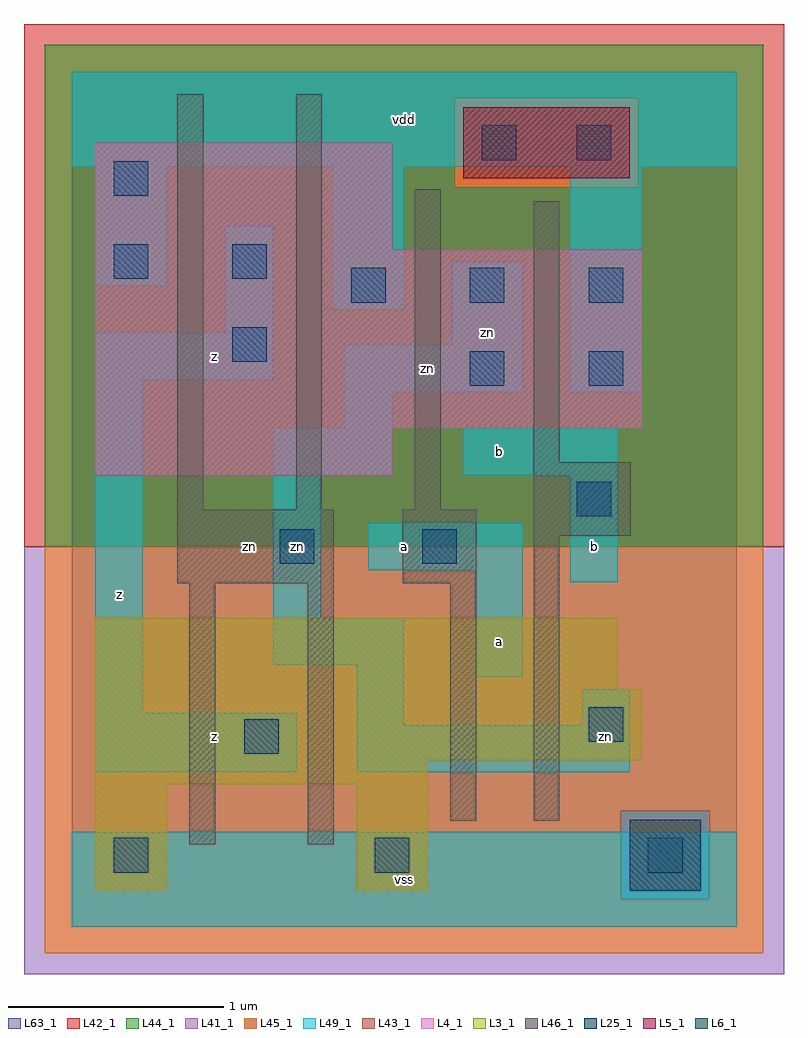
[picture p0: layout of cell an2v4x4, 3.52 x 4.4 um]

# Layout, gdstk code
import gdstk
lib = gdstk.Library(unit=1e-6, precision=1e-09)
def R(c, l, rs):  # rectangles x0, y0, x1, y1
    for r in rs: c.add(gdstk.rectangle(r[:2], r[2:], *l))
def A(c, l, x, y, w, h, nx, ny, dx, dy):  # array of equal rectangles
    R(c, l, [(x+i*dx, y+j*dy, x+i*dx+w, y+j*dy+h) for i in range(nx) for j in range(ny)])
L3_1 = (3, 1)
L4_1 = (4, 1)
L5_1 = (5, 1)
L6_1 = (6, 1)
L25_1 = (25, 1)
L41_1 = (41, 1)
L42_1 = (42, 1)
L43_1 = (43, 1)
L44_1 = (44, 1)
L45_1 = (45, 1)
L46_1 = (46, 1)
L49_1 = (49, 1)
L63_1 = (63, 1)

an2v4x4 = lib.new_cell('an2v4x4')
R(an2v4x4, L3_1, [(0.11,0.165,0.44,0.66), (1.32,0.165,1.65,0.66), (0.11,0.66,1.65,0.77), (0.11,0.77,2.64,1.1), (0.11,1.1,2.53,1.43)])
R(an2v4x4, L4_1, [(0.11,2.09,1.485,2.31), (0.11,2.31,2.64,3.135), (0.11,3.135,1.485,3.63)])
R(an2v4x4, L5_1, [(1.815,3.465,2.585,3.795)])
R(an2v4x4, L6_1, [(2.585,0.165,2.915,0.495)])
A(an2v4x4, L25_1, 1.295, 2.89, 0.16, 0.16, 3, 1, 0.55, 0)
R(an2v4x4, L25_1, [(0.195,0.25,0.355,0.41), (1.405,0.25,1.565,0.41), (2.67,0.25,2.83,0.41), (0.8,0.8,0.96,0.96), (2.395,0.855,2.555,1.015), (0.965,1.68,1.125,1.84), (1.625,1.68,1.785,1.84), (2.34,1.9,2.5,2.06), (1.845,2.505,2.005,2.665), (2.395,2.505,2.555,2.665), (0.745,2.615,0.905,2.775), (0.195,3,0.355,3.16), (0.745,3,0.905,3.16), (0.195,3.385,0.355,3.545), (1.9,3.55,2.06,3.71), (2.34,3.55,2.5,3.71)])
R(an2v4x4, L41_1, [(-0.22,-0.22,3.3,1.76)])
R(an2v4x4, L42_1, [(-0.22,1.76,3.3,4.18)])
R(an2v4x4, L43_1, [(0.11,0.165,0.44,0.66), (1.32,0.165,1.65,0.66), (2.585,0.165,2.915,0.495), (0.11,0.66,1.65,0.77), (0.11,0.77,2.64,1.1), (0.11,1.1,2.53,1.43), (0.11,2.09,1.485,2.31), (0.11,2.31,2.64,3.135), (0.11,3.135,1.485,3.63), (1.815,3.465,2.585,3.795)])
R(an2v4x4, L44_1, [(2.545,0.125,2.955,0.535), (-0.125,1.76,3.205,3.425), (-0.125,3.425,1.775,3.835), (2.625,3.425,3.205,3.835), (-0.125,3.835,3.205,4.085)])
R(an2v4x4, L45_1, [(-0.125,-0.125,3.205,0.125), (-0.125,0.125,2.545,0.535), (2.955,0.125,3.205,0.535), (-0.125,0.535,3.205,1.76), (1.775,3.425,2.625,3.835)])
R(an2v4x4, L46_1, [(0.545,0.38,0.665,1.59), (1.095,0.38,1.215,1.59), (1.755,0.49,1.875,1.59), (2.14,0.49,2.26,1.81), (0.49,1.59,1.215,1.93), (1.535,1.59,1.875,1.93), (2.14,1.81,2.59,2.15), (0.49,1.93,0.61,3.855), (1.04,1.93,1.16,3.855), (1.59,1.93,1.71,3.415), (2.14,2.15,2.26,3.36)])
R(an2v4x4, L49_1, [(0,0,3.08,0.44), (0.11,0.715,1.045,0.99), (1.32,0.715,2.585,0.935), (1.32,0.935,1.54,1.21), (2.365,0.935,2.585,1.1), (0.11,0.99,0.33,2.53), (1.87,1.155,2.09,1.65), (0.935,1.21,1.54,1.43), (0.935,1.43,1.155,2.09), (2.31,1.595,2.53,2.09), (1.375,1.65,2.09,1.87), (0.935,2.09,1.485,2.31), (1.815,2.09,2.53,2.31), (1.265,2.31,1.485,2.475), (1.265,2.475,2.09,2.695), (2.31,2.475,2.64,3.52), (0.11,2.53,0.935,2.75), (1.76,2.695,2.09,3.08), (0.715,2.75,0.935,3.245), (1.21,2.86,1.54,3.52), (0.11,2.97,0.44,3.52), (0,3.52,3.08,3.96)])
R(an2v4x4, L63_1, [(0,0,3.08,3.96)])
an2v4x4.add(gdstk.Label('zn', (0.825,1.76), layer=46, texttype=1))
an2v4x4.add(gdstk.Label('z', (0.22,1.54), layer=49, texttype=1))
an2v4x4.add(gdstk.Label('z', (0.66,0.88), layer=49, texttype=1))
an2v4x4.add(gdstk.Label('zn', (1.045,1.76), layer=49, texttype=1))
an2v4x4.add(gdstk.Label('z', (0.66,2.64), layer=49, texttype=1))
an2v4x4.add(gdstk.Label('vss', (1.54,0.22), layer=49, texttype=1))
an2v4x4.add(gdstk.Label('a', (1.54,1.76), layer=49, texttype=1))
an2v4x4.add(gdstk.Label('a', (1.98,1.32), layer=49, texttype=1))
an2v4x4.add(gdstk.Label('b', (1.98,2.2), layer=49, texttype=1))
an2v4x4.add(gdstk.Label('zn', (1.65,2.585), layer=49, texttype=1))
an2v4x4.add(gdstk.Label('zn', (1.925,2.75), layer=49, texttype=1))
an2v4x4.add(gdstk.Label('vdd', (1.54,3.74), layer=49, texttype=1))
an2v4x4.add(gdstk.Label('zn', (2.475,0.88), layer=49, texttype=1))
an2v4x4.add(gdstk.Label('b', (2.42,1.76), layer=49, texttype=1))

lib.write_gds('an2v4x4.gds')
